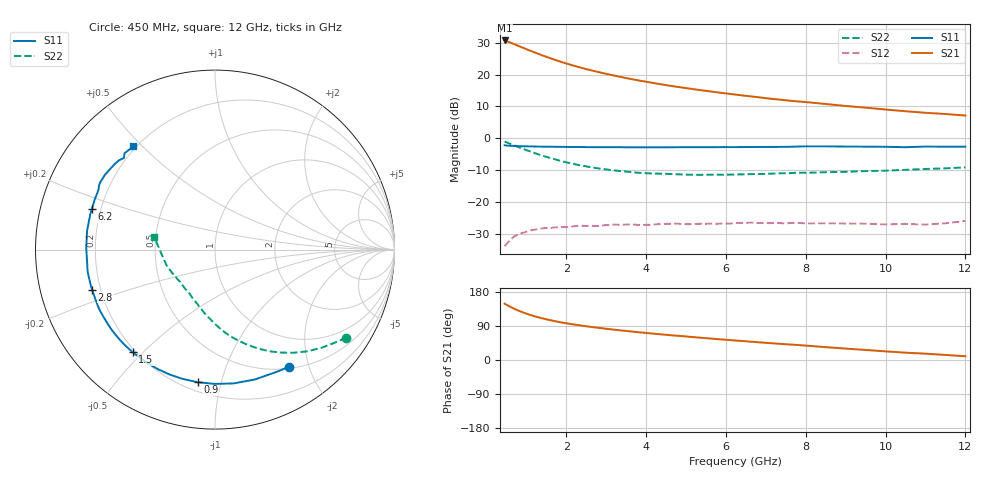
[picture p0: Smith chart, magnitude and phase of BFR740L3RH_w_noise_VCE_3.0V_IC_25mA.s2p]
! (c) 2012  Infineon Technologies AG, Munich
! Infineon Technologies  Discrete & RF Semiconductors
! BFR740L3RH
! VCE =  3.0 V,  IC =  25 mA
! Common Emitter S-Parameters:  May 2012
# GHz  S  MA  R  50
!  f  S11  S21  S12  S22
! GHz  MAG  ANG  MAG  ANG  MAG  ANG  MAG  ANG
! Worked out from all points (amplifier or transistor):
!   85 points, 450 MHz to 12 GHz, reference 50 ohm
!   highest |S21| = 30.7 dB at 450 MHz (marker M1)
!   |S21| within 3 dB of that: start of sweep to 1.048 GHz
!   unconditionally stable (mu >= 1): 6.29 GHz to end of sweep
!   at 1.8 GHz: K = 0.29, MSG = 26.1 dB, |S12| = -28.0 dB
!   at 4.6 GHz: K = 0.75, MSG = 21.7 dB, |S12| = -27.0 dB
!   at 12 GHz: K = 1.92, MAG = 11.1 dB, |S12| = -26.1 dB
!   lowest NFmin = 1.03 dB at 450 MHz
!   S11 on the Smith chart (normalised r, x): 450 MHz: 0.53, -1.70; 900 MHz: 0.25, -0.84; 1.5 GHz: 0.19, -0.47; 2.8 GHz: 0.17, -0.15; 6.2 GHz: 0.17, +0.16; 12 GHz: 0.19, +0.47
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0.45  0.7719 -57.6  34.31 148.6  0.02 70.8  0.8814 -33.8
0.6  0.757 -72.9  31.62 139.9  0.0256 53.7  0.8085 -42.5
0.7  0.7527 -82.1  29.86 134.8  0.0287 49.6  0.7645 -47.9
0.8  0.7482 -90.2  28.12 130.1  0.0308 46.3  0.7216 -52.8
0.9  0.7451 -97.5  26.49 126.0  0.0323 43.1  0.6826 -57.2
1  0.7426 -104.1  24.97 122.2  0.0338 40.2  0.6471 -61.3
1.2  0.7382 -115.5  22.27 115.5  0.0363 36.4  0.5829 -68.5
1.3  0.7358 -120.4  21.06 112.5  0.0373 34.4  0.5546 -71.8
1.5  0.7328 -128.8  18.94 107.3  0.0385 31.5  0.5067 -77.7
1.7  0.7308 -136.2  17.11 102.7  0.0394 29.0  0.4662 -83.0
1.9  0.7286 -142.5  15.56 98.6  0.0399 25.6  0.431 -87.6
2.1  0.7256 -147.9  14.24 95.1  0.0404 24.4  0.4023 -91.8
2.4  0.7239 -154.6  12.61 90.4  0.0418 24.3  0.3686 -97.6
2.8  0.7204 -162.0  10.93 84.9  0.0415 22.8  0.3343 -104.3
3.6  0.716 -173.9  8.537 75.5  0.0439 20.0  0.2931 -116.4
4.3  0.7172 178.6  7.132 68.3  0.0444 19.2  0.2766 -124.8
5.3  0.7193 168.9  5.744 59.3  0.0449 18.3  0.2645 -137.0
6.2  0.7218 161.9  4.866 51.7  0.0459 18.0  0.2678 -146.6
6.3  0.7223 161.2  4.782 50.9  0.0464 17.8  0.2682 -147.7
8.5  0.7413 145.7  3.44 33.9  0.0458 17.3  0.2912 -169.4
10.5  0.7198 134.8  2.645 19.3  0.0447 22.8  0.3174 176.6
12  0.7333 128.4  2.266 9.9  0.0498 31.2  0.3464 168.4
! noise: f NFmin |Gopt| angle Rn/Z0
0.45  1.03  0.05  178  0.12
0.9  1.04  0.05  160  0.11
1.5  1.05  0.07  144  0.11
1.9  1.06  0.09  139  0.11
2.4  1.08  0.11  136  0.1
3.5  1.13  0.13  142  0.1
5.5  1.26  0.2  154  0.09
8  1.46  0.27  180  0.09
10  1.64  0.31  -162  0.1
12  1.82  0.36  -140  0.11
